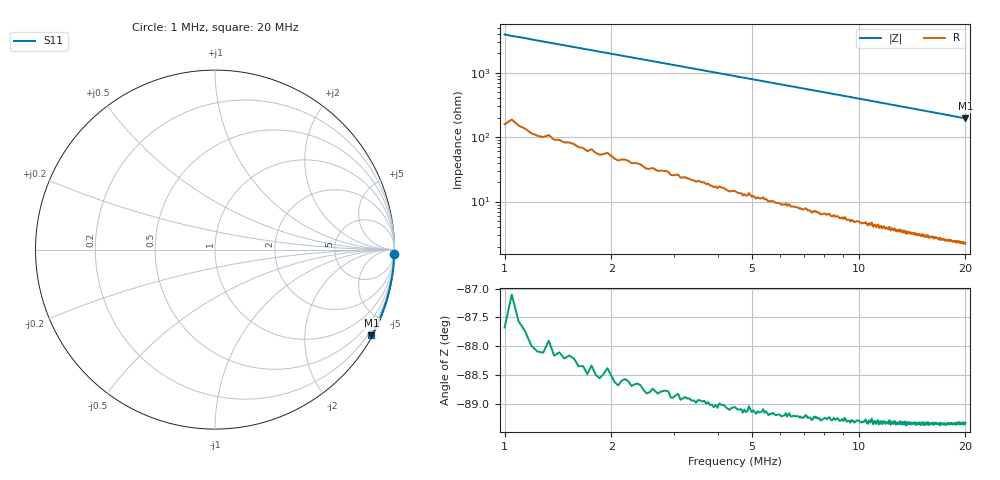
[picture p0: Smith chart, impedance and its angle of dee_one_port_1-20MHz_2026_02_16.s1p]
# HZ S RI R 50
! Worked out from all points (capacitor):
!   401 points, 1 MHz to 20 MHz, reference 50 ohm
!   read as one part to ground: C = 40.7 pF near 1.095 MHz
!   lowest |Z| = 195 ohm at 20 MHz (marker M1)
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1000000  0.9986 -0.0256
1047500  0.9983 -0.0269
1095000  0.9984 -0.028
1285000  0.9984 -0.0329
2140000  0.9972 -0.0544
2567500  0.9965 -0.065
3375000  0.9948 -0.0852
3897500  0.9935 -0.0983
4610000  0.9914 -0.116
5750000  0.9874 -0.1442
6890000  0.9827 -0.1723
7792500  0.9785 -0.1944
8125000  0.9766 -0.2024
8837500  0.9728 -0.2199
9360000  0.9696 -0.2326
1.01675e7  0.9646 -0.252
1.05e7  0.9623 -0.2599
1.14975e7  0.9552 -0.284
1.2875e7  0.9447 -0.3164
1.354e7  0.9391 -0.3321
1.411e7  0.9341 -0.3457
1.525e7  0.9235 -0.3718
1.6295e7  0.9133 -0.396
1.7625e7  0.8994 -0.426
1.8765e7  0.8865 -0.4511
1.98575e7  0.8736 -0.4752
1.99525e7  0.8725 -0.4774
2e7  0.8718 -0.4783
